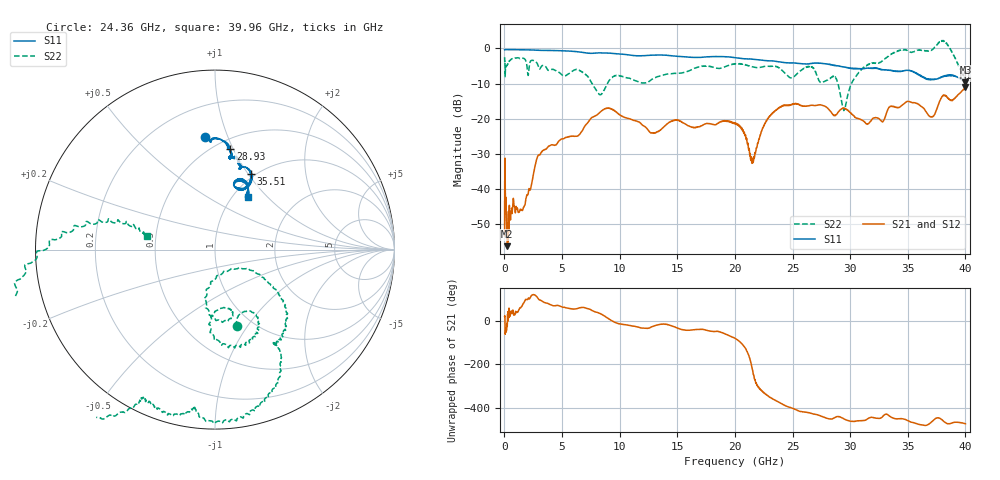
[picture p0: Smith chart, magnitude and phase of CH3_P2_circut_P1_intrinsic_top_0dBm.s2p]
!Keysight Technologies,N5222B,MY61257109,A.17.25.03
!Date: Tuesday, July 21, 2026 19:45:57
!Correction: S11(C  2-Port  )
!S21(C  2-Port  )
!S12(C  2-Port  )
!S22(C  2-Port  )
!S2P File: Measurements: S11, S21, S12, S22:
# Hz S  dB  R 50
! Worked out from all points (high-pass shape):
!   4000 points, 10 MHz to 40 GHz, reference 50 ohm
!   highest |S21| = -11.07 dB at 40 GHz (marker M1); lowest = -56.2 dB at 250 MHz (marker M2)
!   |S21| within 3 dB of the highest: 37.92 GHz to 38.49 GHz (575.1 MHz wide, 1.51 % of centre); 39.1 GHz to end of sweep
!   lowest |S11| = -9.6 dB at 40 GHz (marker M3), VSWR 1.99, Z = 57.3 + j37 ohm
!   |S11| at or under -10 dB: nowhere
!   |S22| runs from -17.7 to 2.3 dB; largest |S21 - S12| = 0.0023
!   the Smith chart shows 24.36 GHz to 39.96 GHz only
!   S11 on the Smith chart (normalised r, x): 24.36 GHz: 0.40, +0.83; 28.93 GHz: 0.59, +0.97; 35.51 GHz: 0.96, +1.03; 39.96 GHz: 1.17, +0.79
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1e7  -0.38 -179.7  -53.34 18.9  -53.87 21.6  -2.48 -55.7
2.5e8  -0.33 178.9  -56.25 -9.0  -55.99 -8.8  -4.67 -175.4
1.66e9  -0.37 172.5  -45.11 80.3  -45.14 80.3  -2.81 104.2
3.03e9  -0.52 166.5  -30.28 94.3  -30.27 94.3  -5.89 62.3
6.68e9  -1.07 150.5  -23.77 59.8  -23.74 59.8  -6.55 6.0
8.96e9  -1.30 143.7  -16.99 10.9  -16.97 10.9  -9.79 26.8
1.334e10  -1.87 131.4  -23.62 -19.4  -23.58 -19.7  -7.96 2.8
2.001e10  -2.59 107.6  -21.45 -81.7  -21.44 -81.4  -4.41 -37.6
2.153e10  -3.05 102.6  -31.29 133.5  -31.51 133.2  -5.21 -52.2
2.275e10  -3.48 99.4  -20.57 17.8  -20.56 18.0  -5.08 -56.7
2.436e10  -4.04 95.1  -16.24 -31.0  -16.21 -30.8  -7.08 -74.0
2.667e10  -4.22 91.8  -16.17 -66.8  -16.15 -66.9  -5.33 -81.4
2.893e10  -4.91 81.4  -18.26 -80.0  -18.24 -80.3  -9.79 -99.3
2.949e10  -5.26 80.5  -17.07 -92.3  -17.06 -92.4  -17.11 -60.3
3.086e10  -5.74 80.5  -20.13 -100.1  -20.12 -99.8  -6.44 -37.5
3.334e10  -6.12 73.7  -16.95 -75.9  -16.89 -75.9  -2.16 -62.5
3.551e10  -6.62 64.5  -15.41 -109.1  -15.37 -109.2  -0.90 -98.1
3.766e10  -8.55 73.8  -15.94 -86.9  -15.88 -87.2  1.53 -127.8
3.825e10  -7.71 72.2  -13.35 -108.5  -13.29 -108.3  1.88 -158.8
3.896e10  -7.64 64.6  -14.54 -107.9  -14.50 -108.0  -1.83 173.0
3.996e10  -9.15 57.8  -11.33 -113.6  -11.27 -113.7  -8.20 168.4
4e10  -9.57 59.8  -11.07 -114.2  -11.02 -114.3  -8.38 171.1
